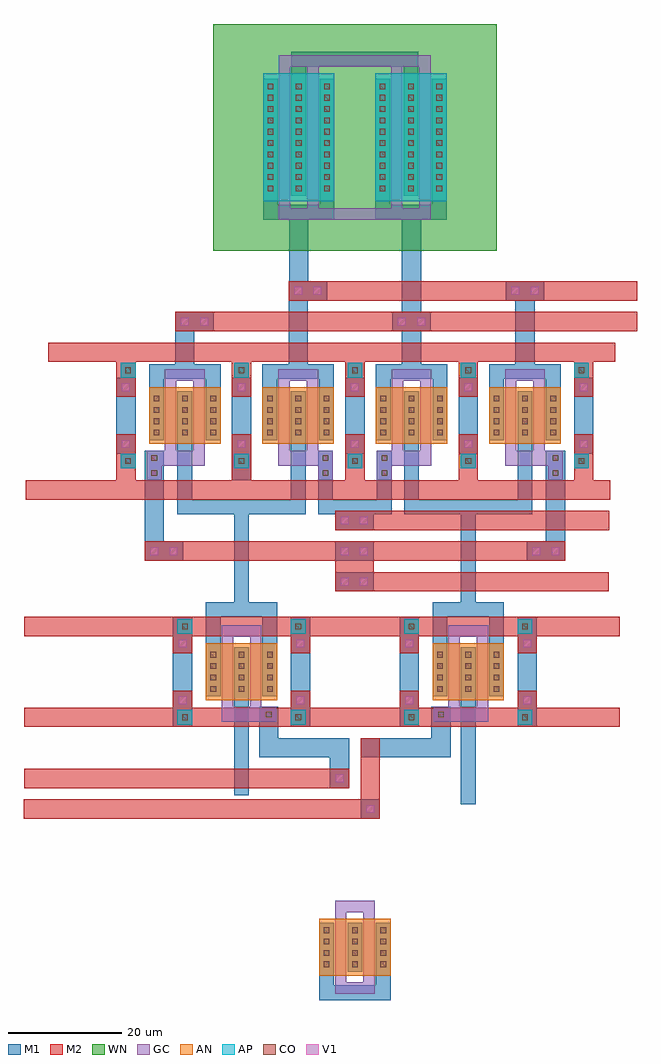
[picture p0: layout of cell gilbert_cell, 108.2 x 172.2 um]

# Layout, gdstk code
import gdstk
lib = gdstk.Library(unit=1e-6, precision=1e-07)
def R(c, l, rs):  # rectangles x0, y0, x1, y1
    for r in rs: c.add(gdstk.rectangle(r[:2], r[2:], *l))
def A(c, l, x, y, w, h, nx, ny, dx, dy):  # array of equal rectangles
    R(c, l, [(x+i*dx, y+j*dy, x+i*dx+w, y+j*dy+h) for i in range(nx) for j in range(ny)])
AP = (3, 1)
AN = (3, 2)
GC = (8, 1)
CO = (11, 0)
M1 = (13, 0)
V1 = (19, 0)
M2 = (20, 0)
WN = (140, 0)

cont_g = lib.new_cell('cont_g')
R(cont_g, GC, [(-1.3,-1.3,1.3,1.3)])
R(cont_g, CO, [(-0.5,-0.5,0.5,0.5)])
R(cont_g, M1, [(-1.3,-1.3,1.3,1.3)])

via_1 = lib.new_cell('via_1')
R(via_1, M1, [(-1.7,-1.7,1.7,1.7)])
R(via_1, V1, [(-0.7,-0.7,0.7,0.7)])
R(via_1, M2, [(-1.7,-1.7,1.7,1.7)])

fet_p = lib.new_cell('fet_p')
R(fet_p, AP, [(-6.3,-11.3,6.3,11.3)])
A(fet_p, CO, -5.5, -9.5, 1, 1, 3, 10, 5, 2)
A(fet_p, M1, -6.3, -10.3, 2.6, 20.6, 3, 1, 5, 0)
fet_p.add(gdstk.FlexPath([(2.5,-12.5),(2.5,12.5)], 2, ends="flush", simple_path=True, layer=8, datatype=1))  # GC
fet_p.add(gdstk.FlexPath([(-2.5,-12.5),(-2.5,12.5)], 2, ends="flush", simple_path=True, layer=8, datatype=1))  # GC

fet_n = lib.new_cell('fet_n')
R(fet_n, AN, [(-6.3,-5,6.3,5)])
A(fet_n, CO, -5.5, -3.5, 1, 1, 3, 4, 5, 2)
A(fet_n, M1, -6.3, -4.3, 2.6, 8.6, 3, 1, 5, 0)
fet_n.add(gdstk.FlexPath([(2.5,-6.2),(2.5,6.2)], 2, ends="flush", simple_path=True, layer=8, datatype=1))  # GC
fet_n.add(gdstk.FlexPath([(-2.5,-6.2),(-2.5,6.2)], 2, ends="flush", simple_path=True, layer=8, datatype=1))  # GC

cont_p = lib.new_cell('cont_p')
R(cont_p, AP, [(-1.3,-1.3,1.3,1.3)])
R(cont_p, CO, [(-0.5,-0.5,0.5,0.5)])
R(cont_p, M1, [(-1.3,-1.3,1.3,1.3)])

gilbert_cell = lib.new_cell('gilbert_cell')
R(gilbert_cell, WN, [(-856.7,1314.9,-806.7,1354.9)])
gilbert_cell.add(gdstk.FlexPath([(-821.7,1300.7),(-821.7,1294.9)], 3.4, ends="flush", simple_path=True, layer=13, datatype=0))  # M1
gilbert_cell.add(gdstk.FlexPath([(-861.7,1300.7),(-861.7,1294.9)], 3.4, ends="flush", simple_path=True, layer=13, datatype=0))  # M1
gilbert_cell.add(gdstk.FlexPath([(-821.7,1303.7),(-821.7,1320.4)], 3.4, ends="flush", simple_path=True, layer=13, datatype=0))  # M1
gilbert_cell.add(gdstk.FlexPath([(-841.6,1309.1),(-841.6,1320.4)], 3.4, ends="flush", simple_path=True, layer=13, datatype=0))  # M1
gilbert_cell.add(gdstk.FlexPath([(-841.7,1306.1),(-841.7,1294.9)], 3.4, ends="flush", simple_path=True, layer=13, datatype=0))  # M1
gilbert_cell.add(gdstk.FlexPath([(-846.7,1290.1),(-846.7,1293.6),(-836.7,1293.6),(-836.7,1290.1)], 2.6, ends="flush", simple_path=True, layer=13, datatype=0))  # M1
gilbert_cell.add(gdstk.FlexPath([(-806.7,1290.1),(-806.7,1293.6),(-796.7,1293.6),(-796.7,1290.1)], 2.6, ends="flush", simple_path=True, layer=13, datatype=0))  # M1
gilbert_cell.add(gdstk.FlexPath([(-801.7,1306.1),(-801.7,1294.9)], 3.4, ends="flush", simple_path=True, layer=13, datatype=0))  # M1
gilbert_cell.add(gdstk.FlexPath([(-826.7,1290.1),(-826.7,1293.6),(-816.7,1293.6),(-816.7,1290.1)], 2.6, ends="flush", simple_path=True, layer=13, datatype=0))  # M1
gilbert_cell.add(gdstk.FlexPath([(-866.7,1290.1),(-866.7,1293.6),(-856.7,1293.6),(-856.7,1290.1)], 2.6, ends="flush", simple_path=True, layer=13, datatype=0))  # M1
gilbert_cell.add(gdstk.FlexPath([(-836.7,1187.7),(-836.7,1184),(-826.7,1184),(-826.7,1187.7)], 2.6, ends="flush", simple_path=True, layer=13, datatype=0))  # M1
gilbert_cell.add(gdstk.FlexPath([(-836.9,1274.4),(-836.9,1269.7),(-826.5,1269.7),(-826.5,1274.4)], 2.6, ends="flush", simple_path=True, layer=13, datatype=0))  # M1
gilbert_cell.add(gdstk.FlexPath([(-801.3,1250.3),(-801.3,1230.9)], 3.4, ends="flush", simple_path=True, layer=13, datatype=0))  # M1
gilbert_cell.add(gdstk.FlexPath([(-822.1,1250.3),(-822.1,1230.9)], 3.4, ends="flush", simple_path=True, layer=13, datatype=0))  # M1
gilbert_cell.add(gdstk.FlexPath([(-841.3,1250.3),(-841.3,1230.9)], 3.4, ends="flush", simple_path=True, layer=13, datatype=0))  # M1
gilbert_cell.add(gdstk.FlexPath([(-826.8,1324.6),(-826.8,1321.7),(-816.8,1321.7),(-816.8,1324.6)], 2.6, ends="flush", simple_path=True, layer=13, datatype=0))  # M1
gilbert_cell.add(gdstk.FlexPath([(-846.6,1324.6),(-846.6,1321.7),(-836.6,1321.7),(-836.6,1324.6)], 2.6, ends="flush", simple_path=True, layer=13, datatype=0))  # M1
gilbert_cell.add(gdstk.FlexPath([(-841.6,1342.7),(-841.6,1348.7),(-821.8,1348.7),(-821.8,1342.7)], 2.6, ends="flush", simple_path=True, layer=13, datatype=0))  # M1
gilbert_cell.add(gdstk.FlexPath([(-861.7,1281.5),(-861.7,1269.7),(-841.7,1269.7),(-841.7,1281.5)], 2.6, ends="flush", simple_path=True, layer=13, datatype=0))  # M1
gilbert_cell.add(gdstk.FlexPath([(-821.7,1281.5),(-821.7,1269.7),(-801.7,1269.7),(-801.7,1281.5)], 2.6, ends="flush", simple_path=True, layer=13, datatype=0))  # M1
gilbert_cell.add(gdstk.FlexPath([(-867.1,1263.6),(-867.1,1279.6)], 3.4, ends="flush", simple_path=True, layer=13, datatype=0))  # M1
gilbert_cell.add(gdstk.FlexPath([(-796.3,1279.6),(-796.3,1260.2)], 3.4, ends="flush", simple_path=True, layer=13, datatype=0))  # M1
gilbert_cell.add(gdstk.FlexPath([(-856.7,1244.9),(-856.7,1251.6),(-846.7,1251.6),(-846.7,1244.9)], 2.6, ends="flush", simple_path=True, layer=13, datatype=0))  # M1
gilbert_cell.add(gdstk.FlexPath([(-851.7,1236.3),(-851.7,1218.8)], 2.6, ends="flush", simple_path=True, layer=13, datatype=0))  # M1
gilbert_cell.add(gdstk.FlexPath([(-862.1,1250.3),(-862.1,1230.9)], 3.4, ends="flush", simple_path=True, layer=13, datatype=0))  # M1
gilbert_cell.add(gdstk.FlexPath([(-851.7,1279.1),(-851.7,1274.4)], 3.4, ends="flush", simple_path=True, layer=13, datatype=0))  # M1
gilbert_cell.add(gdstk.FlexPath([(-872.1,1282.5),(-872.1,1289.1)], 3.4, ends="flush", simple_path=True, layer=13, datatype=0))  # M1
gilbert_cell.add(gdstk.FlexPath([(-791.3,1282.5),(-791.3,1289.1)], 3.4, ends="flush", simple_path=True, layer=13, datatype=0))  # M1
gilbert_cell.add(gdstk.FlexPath([(-811.7,1282.5),(-811.7,1289.1)], 3.4, ends="flush", simple_path=True, layer=13, datatype=0))  # M1
gilbert_cell.add(gdstk.FlexPath([(-831.7,1282.5),(-831.7,1289.1)], 3.4, ends="flush", simple_path=True, layer=13, datatype=0))  # M1
gilbert_cell.add(gdstk.FlexPath([(-851.7,1282.5),(-851.7,1289.1)], 3.4, ends="flush", simple_path=True, layer=13, datatype=0))  # M1
gilbert_cell.add(gdstk.FlexPath([(-846.9,1225.5),(-846.9,1234.4)], 3.4, ends="flush", simple_path=True, layer=13, datatype=0))  # M1
gilbert_cell.add(gdstk.FlexPath([(-851.7,1268.4),(-851.7,1252.9)], 2.6, ends="flush", simple_path=True, layer=13, datatype=0))  # M1
gilbert_cell.add(gdstk.FlexPath([(-816.7,1244.9),(-816.7,1251.6),(-806.7,1251.6),(-806.7,1244.9)], 2.6, ends="flush", simple_path=True, layer=13, datatype=0))  # M1
gilbert_cell.add(gdstk.FlexPath([(-811.7,1252.9),(-811.7,1268.4)], 2.6, ends="flush", simple_path=True, layer=13, datatype=0))  # M1
gilbert_cell.add(gdstk.FlexPath([(-811.7,1236.3),(-811.7,1217.2)], 2.6, ends="flush", simple_path=True, layer=13, datatype=0))  # M1
gilbert_cell.add(gdstk.FlexPath([(-848.6,1227.2),(-832.7,1227.2)], 3.4, ends="flush", simple_path=True, layer=13, datatype=0))  # M1
gilbert_cell.add(gdstk.FlexPath([(-830.7,1227.2),(-814.8,1227.2)], 3.4, ends="flush", simple_path=True, layer=13, datatype=0))  # M1
gilbert_cell.add(gdstk.FlexPath([(-834.4,1228.9),(-834.4,1220.1)], 3.4, ends="flush", simple_path=True, layer=13, datatype=0))  # M1
gilbert_cell.add(gdstk.FlexPath([(-816.5,1225.5),(-816.5,1234.4)], 3.4, ends="flush", simple_path=True, layer=13, datatype=0))  # M1
gilbert_cell.add(gdstk.FlexPath([(-835.2,1184.8),(-828.2,1184.8)], 2, ends="flush", simple_path=True, layer=8, datatype=1))  # GC
gilbert_cell.add(gdstk.FlexPath([(-835.2,1199.2),(-828.2,1199.2),(-828.2,1199.2),(-828.2,1199.2)], 2, ends="flush", simple_path=True, layer=8, datatype=1))  # GC
gilbert_cell.add(gdstk.FlexPath([(-815.2,1233.1),(-808.2,1233.1)], 2.6, ends="flush", simple_path=True, layer=8, datatype=1))  # GC
gilbert_cell.add(gdstk.FlexPath([(-815.2,1247.8),(-808.2,1247.8)], 2, ends="flush", simple_path=True, layer=8, datatype=1))  # GC
gilbert_cell.add(gdstk.FlexPath([(-855.2,1247.8),(-848.2,1247.8)], 2, ends="flush", simple_path=True, layer=8, datatype=1))  # GC
gilbert_cell.add(gdstk.FlexPath([(-848.2,1233.1),(-855.2,1233.1)], 2.6, ends="flush", simple_path=True, layer=8, datatype=1))  # GC
gilbert_cell.add(gdstk.FlexPath([(-845.1,1321.4),(-818.3,1321.4)], 2, ends="flush", simple_path=True, layer=8, datatype=1))  # GC
gilbert_cell.add(gdstk.FlexPath([(-845.1,1348.4),(-818.3,1348.4),(-818.3,1348.4)], 2, ends="flush", simple_path=True, layer=8, datatype=1))  # GC
gilbert_cell.add(gdstk.FlexPath([(-825.2,1293),(-818.2,1293)], 2, ends="flush", simple_path=True, layer=8, datatype=1))  # GC
gilbert_cell.add(gdstk.FlexPath([(-805.2,1293),(-798.2,1293)], 2, ends="flush", simple_path=True, layer=8, datatype=1))  # GC
gilbert_cell.add(gdstk.FlexPath([(-797.6,1278.3),(-805.2,1278.3)], 2.6, ends="flush", simple_path=True, layer=8, datatype=1))  # GC
gilbert_cell.add(gdstk.FlexPath([(-838.2,1278.3),(-845.2,1278.3)], 2.6, ends="flush", simple_path=True, layer=8, datatype=1))  # GC
gilbert_cell.add(gdstk.FlexPath([(-825.2,1278.3),(-818.2,1278.3)], 2.6, ends="flush", simple_path=True, layer=8, datatype=1))  # GC
gilbert_cell.add(gdstk.FlexPath([(-865.8,1278.3),(-858.2,1278.3)], 2.6, ends="flush", simple_path=True, layer=8, datatype=1))  # GC
gilbert_cell.add(gdstk.FlexPath([(-845.2,1293),(-838.2,1293)], 2, ends="flush", simple_path=True, layer=8, datatype=1))  # GC
gilbert_cell.add(gdstk.FlexPath([(-865.2,1293),(-858.2,1293)], 2, ends="flush", simple_path=True, layer=8, datatype=1))  # GC
gilbert_cell.add(gdstk.FlexPath([(-830.1,1267.3),(-786.8,1267.3)], 3.4, ends="flush", simple_path=True, layer=20, datatype=0))  # M2
gilbert_cell.add(gdstk.FlexPath([(-798.3,1307.8),(-781.9,1307.8)], 3.4, ends="flush", simple_path=True, layer=20, datatype=0))  # M2
gilbert_cell.add(gdstk.FlexPath([(-862.1,1261.9),(-835.2,1261.9)], 3.4, ends="flush", simple_path=True, layer=20, datatype=0))  # M2
gilbert_cell.add(gdstk.FlexPath([(-820,1302.4),(-781.9,1302.4)], 3.4, ends="flush", simple_path=True, layer=20, datatype=0))  # M2
gilbert_cell.add(gdstk.FlexPath([(-830.1,1256.5),(-786.9,1256.5)], 3.4, ends="flush", simple_path=True, layer=20, datatype=0))  # M2
gilbert_cell.add(gdstk.FlexPath([(-836.6,1307.8),(-805.1,1307.8)], 3.4, ends="flush", simple_path=True, layer=20, datatype=0))  # M2
gilbert_cell.add(gdstk.FlexPath([(-801.4,1261.9),(-828.4,1261.9)], 3.4, ends="flush", simple_path=True, layer=20, datatype=0))  # M2
gilbert_cell.add(gdstk.FlexPath([(-831.8,1258.2),(-831.8,1260.2)], 6.8, ends="flush", simple_path=True, layer=20, datatype=0))  # M2
gilbert_cell.add(gdstk.FlexPath([(-825.1,1302.4),(-856.6,1302.4)], 3.4, ends="flush", simple_path=True, layer=20, datatype=0))  # M2
gilbert_cell.add(gdstk.FlexPath([(-889.8,1272.7),(-786.6,1272.7)], 3.4, ends="flush", simple_path=True, layer=20, datatype=0))  # M2
gilbert_cell.add(gdstk.FlexPath([(-872.1,1279.1),(-872.1,1274.4)], 3.4, ends="flush", simple_path=True, layer=20, datatype=0))  # M2
gilbert_cell.add(gdstk.FlexPath([(-885.8,1297),(-785.8,1297)], 3.4, ends="flush", simple_path=True, layer=20, datatype=0))  # M2
gilbert_cell.add(gdstk.FlexPath([(-872.1,1292.5),(-872.1,1295.3)], 3.4, ends="flush", simple_path=True, layer=20, datatype=0))  # M2
gilbert_cell.add(gdstk.FlexPath([(-851.7,1292.5),(-851.7,1295.3)], 3.4, ends="flush", simple_path=True, layer=20, datatype=0))  # M2
gilbert_cell.add(gdstk.FlexPath([(-831.7,1292.5),(-831.7,1295.3)], 3.4, ends="flush", simple_path=True, layer=20, datatype=0))  # M2
gilbert_cell.add(gdstk.FlexPath([(-811.7,1292.5),(-811.7,1295.3)], 3.4, ends="flush", simple_path=True, layer=20, datatype=0))  # M2
gilbert_cell.add(gdstk.FlexPath([(-791.3,1292.5),(-791.3,1295.3)], 3.4, ends="flush", simple_path=True, layer=20, datatype=0))  # M2
gilbert_cell.add(gdstk.FlexPath([(-791.3,1279.1),(-791.3,1274.4)], 3.4, ends="flush", simple_path=True, layer=20, datatype=0))  # M2
gilbert_cell.add(gdstk.FlexPath([(-811.7,1279.1),(-811.7,1274.4)], 3.4, ends="flush", simple_path=True, layer=20, datatype=0))  # M2
gilbert_cell.add(gdstk.FlexPath([(-831.7,1279.1),(-831.7,1274.4)], 3.4, ends="flush", simple_path=True, layer=20, datatype=0))  # M2
gilbert_cell.add(gdstk.FlexPath([(-851.7,1274.4),(-851.7,1279.1)], 3.4, ends="flush", simple_path=True, layer=20, datatype=0))  # M2
gilbert_cell.add(gdstk.FlexPath([(-890,1232.6),(-785,1232.6)], 3.4, ends="flush", simple_path=True, layer=20, datatype=0))  # M2
gilbert_cell.add(gdstk.FlexPath([(-890,1248.6),(-785,1248.6)], 3.4, ends="flush", simple_path=True, layer=20, datatype=0))  # M2
gilbert_cell.add(gdstk.FlexPath([(-836.1,1221.8),(-890,1221.8)], 3.4, ends="flush", simple_path=True, layer=20, datatype=0))  # M2
gilbert_cell.add(gdstk.FlexPath([(-830.7,1216.4),(-890.1,1216.4)], 3.4, ends="flush", simple_path=True, layer=20, datatype=0))  # M2
gilbert_cell.add(gdstk.FlexPath([(-829,1218.1),(-829,1228.9)], 3.4, ends="flush", simple_path=True, layer=20, datatype=0))  # M2
gilbert_cell.add(gdstk.Reference(cont_g, (-836.9,1275.7)))
gilbert_cell.add(gdstk.Reference(via_1, (-833.5,1267.3)))
gilbert_cell.add(gdstk.Reference(via_1, (-800,1307.8)))
gilbert_cell.add(gdstk.Reference(via_1, (-803.4,1307.8)))
gilbert_cell.add(gdstk.Reference(via_1, (-823.4,1302.4)))
gilbert_cell.add(gdstk.Reference(via_1, (-838.3,1307.8)))
gilbert_cell.add(gdstk.Reference(via_1, (-841.7,1307.8)))
gilbert_cell.add(gdstk.Reference(via_1, (-858.3,1302.4)))
gilbert_cell.add(gdstk.Reference(via_1, (-861.7,1302.4)))
gilbert_cell.add(gdstk.Reference(fet_p, (-821.8,1334.9)))
gilbert_cell.add(gdstk.Reference(fet_n, (-831.7,1192)))
gilbert_cell.add(gdstk.Reference(fet_p, (-841.6,1334.9)))
gilbert_cell.add(gdstk.Reference(fet_n, (-841.7,1285.8)))
gilbert_cell.add(gdstk.Reference(fet_n, (-861.7,1285.8)))
gilbert_cell.add(gdstk.Reference(fet_n, (-801.7,1285.8)))
gilbert_cell.add(gdstk.Reference(fet_n, (-821.7,1285.8)))
gilbert_cell.add(gdstk.Reference(fet_n, (-811.7,1240.6)))
gilbert_cell.add(gdstk.Reference(fet_n, (-851.7,1240.6)))
gilbert_cell.add(gdstk.Reference(cont_g, (-867.1,1278.3)))
gilbert_cell.add(gdstk.Reference(via_1, (-867.1,1261.9)))
gilbert_cell.add(gdstk.Reference(via_1, (-830.1,1261.9)))
gilbert_cell.add(gdstk.Reference(via_1, (-830.1,1256.5)))
gilbert_cell.add(gdstk.Reference(via_1, (-830.1,1267.3)))
gilbert_cell.add(gdstk.Reference(cont_g, (-867.1,1275.7)))
gilbert_cell.add(gdstk.Reference(via_1, (-863.7,1261.9)))
gilbert_cell.add(gdstk.Reference(cont_g, (-836.9,1278.3)))
gilbert_cell.add(gdstk.Reference(cont_g, (-826.5,1278.3)))
gilbert_cell.add(gdstk.Reference(via_1, (-833.5,1261.9)))
gilbert_cell.add(gdstk.Reference(via_1, (-799.7,1261.9)))
gilbert_cell.add(gdstk.Reference(via_1, (-833.5,1256.5)))
gilbert_cell.add(gdstk.Reference(cont_p, (-831.7,1293.8)))
gilbert_cell.add(gdstk.Reference(via_1, (-820,1302.4)))
gilbert_cell.add(gdstk.Reference(cont_p, (-851.7,1293.8)))
gilbert_cell.add(gdstk.Reference(cont_p, (-791.7,1293.8)))
gilbert_cell.add(gdstk.Reference(cont_p, (-811.7,1293.8)))
gilbert_cell.add(gdstk.Reference(cont_p, (-871.7,1293.8)))
gilbert_cell.add(gdstk.Reference(cont_p, (-831.7,1277.8)))
gilbert_cell.add(gdstk.Reference(cont_p, (-851.7,1277.8)))
gilbert_cell.add(gdstk.Reference(cont_p, (-791.7,1277.8)))
gilbert_cell.add(gdstk.Reference(cont_p, (-811.7,1277.8)))
gilbert_cell.add(gdstk.Reference(cont_p, (-871.7,1277.8)))
gilbert_cell.add(gdstk.Reference(via_1, (-872.1,1280.8)))
gilbert_cell.add(gdstk.Reference(cont_g, (-826.5,1275.7)))
gilbert_cell.add(gdstk.Reference(via_1, (-872.1,1290.8)))
gilbert_cell.add(gdstk.Reference(via_1, (-851.7,1290.8)))
gilbert_cell.add(gdstk.Reference(via_1, (-831.7,1290.8)))
gilbert_cell.add(gdstk.Reference(via_1, (-811.7,1290.8)))
gilbert_cell.add(gdstk.Reference(via_1, (-791.3,1290.8)))
gilbert_cell.add(gdstk.Reference(via_1, (-851.7,1280.8)))
gilbert_cell.add(gdstk.Reference(via_1, (-831.7,1280.8)))
gilbert_cell.add(gdstk.Reference(via_1, (-811.7,1280.8)))
gilbert_cell.add(gdstk.Reference(via_1, (-791.3,1280.8)))
gilbert_cell.add(gdstk.Reference(cont_g, (-796.3,1275.7)))
gilbert_cell.add(gdstk.Reference(cont_g, (-796.3,1278.3)))
gilbert_cell.add(gdstk.Reference(via_1, (-796.3,1261.9)))
gilbert_cell.add(gdstk.Reference(cont_p, (-841.7,1248.6)))
gilbert_cell.add(gdstk.Reference(cont_p, (-861.7,1248.6)))
gilbert_cell.add(gdstk.Reference(cont_p, (-841.7,1232.6)))
gilbert_cell.add(gdstk.Reference(cont_p, (-861.7,1232.6)))
gilbert_cell.add(gdstk.Reference(cont_p, (-801.7,1248.6)))
gilbert_cell.add(gdstk.Reference(cont_p, (-821.7,1248.6)))
gilbert_cell.add(gdstk.Reference(cont_p, (-801.7,1232.6)))
gilbert_cell.add(gdstk.Reference(cont_p, (-821.7,1232.6)))
gilbert_cell.add(gdstk.Reference(cont_g, (-846.9,1233.1)))
gilbert_cell.add(gdstk.Reference(cont_g, (-816.5,1233.1)))
gilbert_cell.add(gdstk.Reference(via_1, (-862.1,1245.6)))
gilbert_cell.add(gdstk.Reference(via_1, (-862.1,1235.6)))
gilbert_cell.add(gdstk.Reference(via_1, (-841.3,1235.6)))
gilbert_cell.add(gdstk.Reference(via_1, (-841.3,1245.6)))
gilbert_cell.add(gdstk.Reference(via_1, (-822.1,1245.6)))
gilbert_cell.add(gdstk.Reference(via_1, (-822.1,1235.6)))
gilbert_cell.add(gdstk.Reference(via_1, (-801.3,1235.6)))
gilbert_cell.add(gdstk.Reference(via_1, (-801.3,1245.6)))
gilbert_cell.add(gdstk.Reference(via_1, (-829,1216.4)))
gilbert_cell.add(gdstk.Reference(via_1, (-834.4,1221.8)))

lib.write_gds('gilbert_cell.gds')
